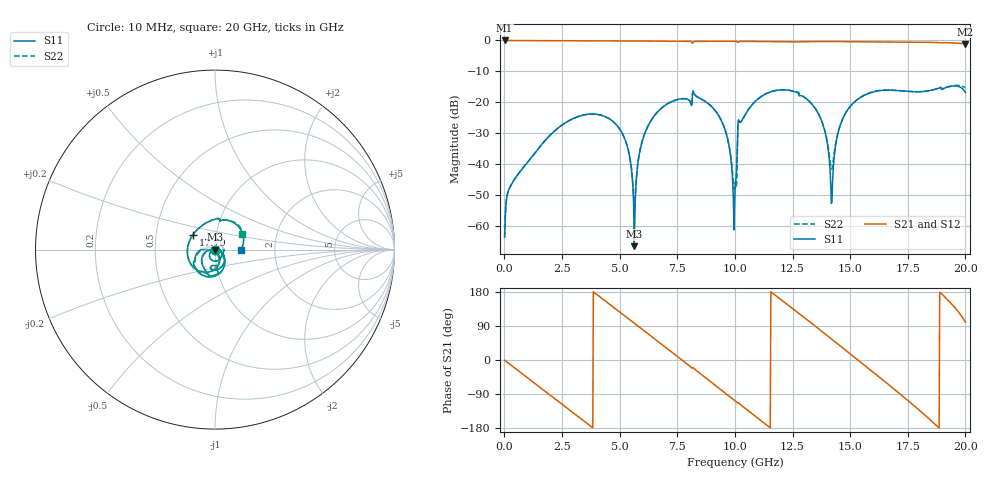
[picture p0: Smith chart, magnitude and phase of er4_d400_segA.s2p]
! Stitch-rule transferability - stripline, 2 mm stitch pitch, cut at x=20 mm
! Case: er4_d400_segA
! Sweep: 10 MHz - 20 GHz, 25 MHz step, 4 cores
# GHz S MA R 50.000000
! Terminal data exported
! Port[1] = U1.PAD1.SIG
! Port[2] = U2.PAD1.SIG
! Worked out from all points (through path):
!   801 points, 10 MHz to 20 GHz, reference 50 ohm
!   highest |S21| = -0.01 dB at 10 MHz (marker M1); lowest = -1.1 dB at 20 GHz (marker M2)
!   group delay of S21, straight-line fit = 132 ps
!   lowest |S11| = -66.6 dB at 5.635 GHz (marker M3), VSWR 1.00, Z = 50 - j0.0353 ohm
!   |S11| at or under -10 dB: start of sweep to end of sweep
!   |S22| runs from -63.6 to -14.5 dB; largest |S21 - S12| = 0
!   S11 on the Smith chart (normalised r, x): 10 MHz: 1.00, +0.00; 17.79 GHz: 0.77, +0.13; 20 GHz: 1.34, -0.01
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0.01  0.0006578 29.8  0.9994 -0.5  0.9994 -0.5  0.0006579 29.8
0.26  0.004353 40.8  0.9959 -12.3  0.9959 -12.3  0.00436 40.7
1.76  0.02387 5.3  0.9915 -82.3  0.9915 -82.3  0.02389 4.1
3.36  0.06116 -66.9  0.985 -156.9  0.985 -156.9  0.06117 -67.2
5.01  0.03641 -143.3  0.9817 126.3  0.9817 126.3  0.03646 -141.4
5.635  0.0004694 -131.3  0.9807 97.1  0.9807 97.1  0.002013 -93.3
5.985  0.02379 -10.2  0.9795 80.7  0.9795 80.7  0.02388 -14.3
6.685  0.07225 -42.4  0.9753 48.0  0.9753 48.0  0.0723 -43.5
7.81  0.1142 -94.6  0.9683 -4.6  0.9683 -4.6  0.1143 -94.3
8.985  0.08548 -148.6  0.9685 -58.8  0.9685 -58.8  0.08562 -146.4
9.585  0.03468 -176.3  0.9699 -87.2  0.9699 -87.2  0.03505 -169.4
10.01  0.004082 1.1  0.9675 -107.7  0.9675 -107.7  0.00504 -60.9
10.21  0.04755 -22.5  0.9631 -115.8  0.9631 -115.8  0.04702 -25.3
10.835  0.09895 -57.1  0.9628 -146.0  0.9628 -146.0  0.09913 -58.3
12.01  0.1585 -111.7  0.9524 158.9  0.9524 158.9  0.1587 -110.6
13.36  0.09141 -174.2  0.9575 95.4  0.9575 95.4  0.09178 -170.1
14.21  0.002436 -87.0  0.9595 54.5  0.9595 54.5  0.008348 -113.9
14.885  0.07466 -70.6  0.955 21.8  0.955 21.8  0.0752 -72.7
16.685  0.1571 -157.9  0.9405 -65.7  0.9405 -65.7  0.1571 -154.1
17.785  0.1481 146.8  0.9375 -121.2  0.9375 -121.2  0.1477 150.7
19.06  0.1663 78.3  0.9214 169.3  0.9214 169.3  0.1678 77.7
20  0.1438 -1.4  0.8768 100.0  0.8768 100.0  0.1724 29.4
